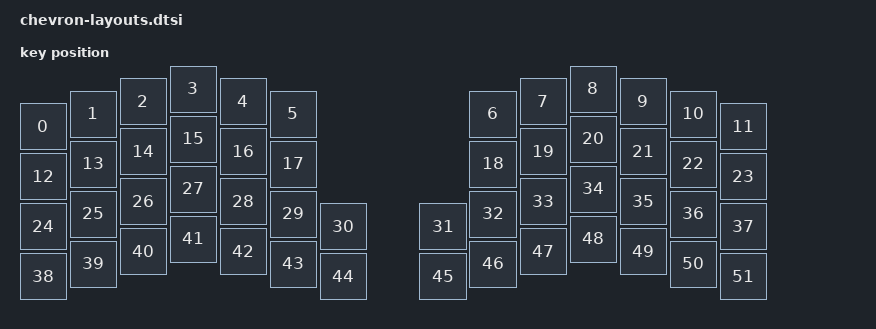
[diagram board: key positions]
#include <physical_layouts.dtsi>

/ {
    chevron_physical_layout: chevron_physical_layout {
        compatible = "zmk,physical-layout";
        display-name = "Chevron";
        transform = <&default_transform>;
        kscan = <&kscan0>;
        keys  //                     w   h    x    y     rot    rx    ry
            // Row 1 - Left side
            = <&key_physical_attrs 100 100    0   75       0     0     0>  // LKey 1
            , <&key_physical_attrs 100 100  100   50       0     0     0>  // LKey 2
            , <&key_physical_attrs 100 100  200   25       0     0     0>  // LKey 3
            , <&key_physical_attrs 100 100  300    0       0     0     0>  // LKey 4
            , <&key_physical_attrs 100 100  400   25       0     0     0>  // LKey 5
            , <&key_physical_attrs 100 100  500   50       0     0     0>  // LKey 6
            // Row 1 - Right side
            , <&key_physical_attrs 100 100  900   50       0     0     0>  // RKey 2
            , <&key_physical_attrs 100 100 1000   25       0     0     0>  // RKey 3
            , <&key_physical_attrs 100 100 1100    0       0     0     0>  // RKey 4
            , <&key_physical_attrs 100 100 1200   25       0     0     0>  // RKey 5
            , <&key_physical_attrs 100 100 1300   50       0     0     0>  // RKey 6
            , <&key_physical_attrs 100 100 1400   75       0     0     0>  // RKey 7
            
            // Row 2 - Left side
            , <&key_physical_attrs 100 100    0  175       0     0     0>  // LKey 8
            , <&key_physical_attrs 100 100  100  150       0     0     0>  // LKey 9
            , <&key_physical_attrs 100 100  200  125       0     0     0>  // LKey 10
            , <&key_physical_attrs 100 100  300  100       0     0     0>  // LKey 11
            , <&key_physical_attrs 100 100  400  125       0     0     0>  // LKey 12
            , <&key_physical_attrs 100 100  500  150       0     0     0>  // LKey 13
            // Row 2 - Right side
            , <&key_physical_attrs 100 100  900  150       0     0     0>  // RKey 9
            , <&key_physical_attrs 100 100 1000  125       0     0     0>  // RKey 10
            , <&key_physical_attrs 100 100 1100  100       0     0     0>  // RKey 11
            , <&key_physical_attrs 100 100 1200  125       0     0     0>  // RKey 12
            , <&key_physical_attrs 100 100 1300  150       0     0     0>  // RKey 13
            , <&key_physical_attrs 100 100 1400  175       0     0     0>  // RKey 14
            
            // Row 3 - Left side
            , <&key_physical_attrs 100 100    0  275       0     0     0>  // LKey 15
            , <&key_physical_attrs 100 100  100  250       0     0     0>  // LKey 16
            , <&key_physical_attrs 100 100  200  225       0     0     0>  // LKey 17
            , <&key_physical_attrs 100 100  300  200       0     0     0>  // LKey 18
            , <&key_physical_attrs 100 100  400  225       0     0     0>  // LKey 19
            , <&key_physical_attrs 100 100  500  250       0     0     0>  // LKey 20
            , <&key_physical_attrs 100 100  600  275       0     0     0>  // LKey 21
            // Row 3 - Right side
            , <&key_physical_attrs 100 100  800  275       0     0     0>  // RKey 15
            , <&key_physical_attrs 100 100  900  250       0     0     0>  // RKey 16
            , <&key_physical_attrs 100 100 1000  225       0     0     0>  // RKey 17
            , <&key_physical_attrs 100 100 1100  200       0     0     0>  // RKey 18
            , <&key_physical_attrs 100 100 1200  225       0     0     0>  // RKey 19
            , <&key_physical_attrs 100 100 1300  250       0     0     0>  // RKey 20
            , <&key_physical_attrs 100 100 1400  275       0     0     0>  // RKey 21
            
            // Row 4 - Left side
            , <&key_physical_attrs 100 100    0  375       0     0     0>  // LKey 22
            , <&key_physical_attrs 100 100  100  350       0     0     0>  // LKey 23
            , <&key_physical_attrs 100 100  200  325       0     0     0>  // LKey 24
            , <&key_physical_attrs 100 100  300  300       0     0     0>  // LKey 25
            , <&key_physical_attrs 100 100  400  325       0     0     0>  // LKey 26
            , <&key_physical_attrs 100 100  500  350       0     0     0>  // LKey 27
            , <&key_physical_attrs 100 100  600  375       0     0     0>  // LKey 28
            // Row 4 - Right side
            , <&key_physical_attrs 100 100  800  375       0     0     0>  // RKey 22
            , <&key_physical_attrs 100 100  900  350       0     0     0>  // RKey 23
            , <&key_physical_attrs 100 100 1000  325       0     0     0>  // RKey 24
            , <&key_physical_attrs 100 100 1100  300       0     0     0>  // RKey 25
            , <&key_physical_attrs 100 100 1200  325       0     0     0>  // RKey 26
            , <&key_physical_attrs 100 100 1300  350       0     0     0>  // RKey 27
            , <&key_physical_attrs 100 100 1400  375       0     0     0>  // RKey 28
            ;
    };
};

